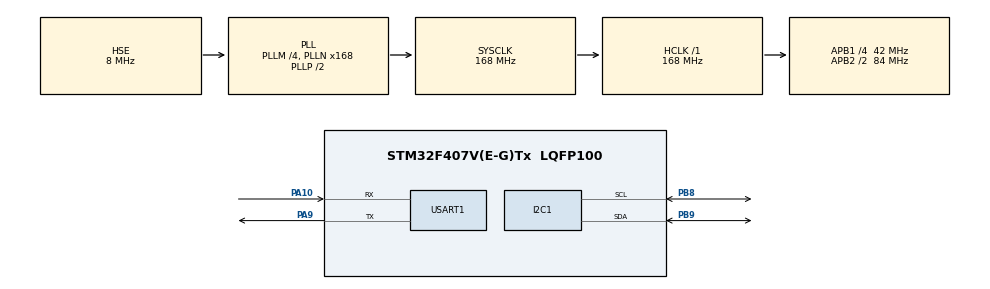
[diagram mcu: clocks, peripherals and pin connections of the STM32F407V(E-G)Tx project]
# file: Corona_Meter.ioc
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Mcu.Family=STM32F4
RCC.PLLSourceVirtual=RCC_PLLSOURCE_HSE
PH0-OSC_IN.Signal=RCC_OSC_IN
RCC.CortexFreq_Value=168000000
PA10.Mode=Asynchronous
RCC.APB1CLKDivider=RCC_HCLK_DIV4
RCC.SYSCLKSource=RCC_SYSCLKSOURCE_PLLCLK
ProjectManager.StackSize=0x400
PA9.Mode=Asynchronous
ProjectManager.TargetToolchain=STM32CubeIDE
I2C1.I2C_Mode=I2C_Fast
RCC.HCLKFreq_Value=168000000
PB9.Mode=I2C
RCC.APB2TimFreq_Value=168000000
PA9.Signal=USART1_TX
RCC.LSE_VALUE=32768
RCC.AHBFreq_Value=168000000
PH0-OSC_IN.Mode=HSE-External-Oscillator
RCC.HSE_VALUE=8000000
board=custom
RCC.VCOOutputFreq_Value=336000000
RCC.APB2Freq_Value=84000000
PH1-OSC_OUT.Signal=RCC_OSC_OUT
Mcu.Name=STM32F407V(E-G)Tx
PH1-OSC_OUT.Mode=HSE-External-Oscillator
RCC.48MHZClocksFreq_Value=84000000
RCC.SYSCLKFreq_VALUE=168000000
PB9.Signal=I2C1_SDA
Mcu.Package=LQFP100
USART1.VirtualMode=VM_ASYNC
PA10.Signal=USART1_RX
ProjectManager.HeapSize=0x200
RCC.HSI_VALUE=16000000
NVIC.PriorityGroup=NVIC_PRIORITYGROUP_4
RCC.APB2CLKDivider=RCC_HCLK_DIV2
RCC.PLLM=4
PB8.Mode=I2C
RCC.PLLN=168
RCC.APB1TimFreq_Value=84000000
PB8.Signal=I2C1_SCL
NVIC.USART1_IRQn=true\:0\:0\:false\:false\:true\:true\:true
RCC.APB1Freq_Value=42000000

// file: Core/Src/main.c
/* USER CODE BEGIN Header */
/**
  ******************************************************************************
  * Author          : Ali Kazankaya
  * @file           : main.c
  * @brief          : Main program body
  ******************************************************************************
  * @attention
  *
  * <h2><center>&copy; Copyright (c) 2021 STMicroelectronics.
  * All rights reserved.</center></h2>
  *
  * This software component is licensed by ST under BSD 3-Clause license,
  * the "License"; You may not use this file except in compliance with the
  * License. You may obtain a copy of the License at:
  *                        opensource.org/licenses/BSD-3-Clause
  *
  ******************************************************************************
  */
/* USER CODE END Header */
#include "main.h"

/* USER CODE BEGIN Includes */
#include "FUNCTIONS.h"
#include "ssd1306.h"
/* USER CODE END Includes */

I2C_HandleTypeDef hi2c1;

UART_HandleTypeDef huart1;

void SystemClock_Config(void);
static void MX_GPIO_Init(void);
static void MX_I2C1_Init(void);
static void MX_USART1_UART_Init(void);

/* USER CODE BEGIN 0 */

char Total[10];
char Death[6];
char Recovered[10];

/* USER CODE END 0 */

int main(void)
{

  /* MCU Configuration--------------------------------------------------------*/

  /* Reset of all peripherals, Initializes the Flash interface and the Systick. */
  HAL_Init();

  /* Configure the system clock */
  SystemClock_Config();

  /* Initialize all configured peripherals */
  MX_GPIO_Init();
  MX_I2C1_Init();
  MX_USART1_UART_Init();
  /* USER CODE BEGIN 2 */

  SSD1306_Init();
  SSD1306_GotoXY(0, 20);
  SSD1306_Puts("Connecting..", &Font_11x18, 1);
  SSD1306_UpdateScreen();
  ESP_Init("TurkTelekom_ZT37UQ_5GHz", "KTyucb44sXDs");
  SSD1306_Clear();

  /* USER CODE END 2 */

  /* Infinite loop */
  while (1)
  {

    /* USER CODE BEGIN 3 */

	  SSD1306_GotoXY(0, 0);
	  SSD1306_Puts("COVID TURKEY", &Font_11x18, 1);
	  SSD1306_GotoXY(0, 30);
	  SSD1306_Puts("Live Feed", &Font_11x18, 1);
      SSD1306_UpdateScreen();

      HAL_Delay(2000);

	  ESP_GetData("PKRXZX9G072FL53Q", Total, Death, Recovered);

	  SSD1306_Clear();

	  SSD1306_GotoXY(30, 0);
	  SSD1306_Puts("TOTAL", &Font_11x18, 1);
	  SSD1306_GotoXY(20, 30);
	  SSD1306_Puts(Total, &Font_11x18, 1);
	  SSD1306_UpdateScreen();
	  HAL_Delay(5000);
	  SSD1306_Clear();

	  SSD1306_GotoXY(20, 0);
	  SSD1306_Puts("DEATHS", &Font_11x18, 1);
	  SSD1306_GotoXY(30, 30);
	  SSD1306_Puts(Death, &Font_11x18, 1);
	  SSD1306_UpdateScreen();
	  HAL_Delay(5000);
	  SSD1306_Clear();

	  SSD1306_GotoXY(5, 0);
	  SSD1306_Puts("RECOVERED", &Font_11x18, 1);
	  SSD1306_GotoXY(20, 30);
	  SSD1306_Puts(Recovered, &Font_11x18, 1);
	  SSD1306_UpdateScreen();
	  HAL_Delay(5000);
	  SSD1306_Clear();

  }

  /* USER CODE END 3 */
}

void SystemClock_Config(void)
{
  RCC_OscInitTypeDef RCC_OscInitStruct = {0};
  RCC_ClkInitTypeDef RCC_ClkInitStruct = {0};

  /** Configure the main internal regulator output voltage
  */
  __HAL_RCC_PWR_CLK_ENABLE();
  __HAL_PWR_VOLTAGESCALING_CONFIG(PWR_REGULATOR_VOLTAGE_SCALE1);
  /** Initializes the RCC Oscillators according to the specified parameters
  * in the RCC_OscInitTypeDef structure.
  */
  RCC_OscInitStruct.OscillatorType = RCC_OSCILLATORTYPE_HSE;
  RCC_OscInitStruct.HSEState = RCC_HSE_ON;
  RCC_OscInitStruct.PLL.PLLState = RCC_PLL_ON;
  RCC_OscInitStruct.PLL.PLLSource = RCC_PLLSOURCE_HSE;
  RCC_OscInitStruct.PLL.PLLM = 4;
  RCC_OscInitStruct.PLL.PLLN = 168;
  RCC_OscInitStruct.PLL.PLLP = RCC_PLLP_DIV2;
  RCC_OscInitStruct.PLL.PLLQ = 4;
  if (HAL_RCC_OscConfig(&RCC_OscInitStruct) != HAL_OK)
  {
    Error_Handler();
  }
  /** Initializes the CPU, AHB and APB buses clocks
  */
  RCC_ClkInitStruct.ClockType = RCC_CLOCKTYPE_HCLK|RCC_CLOCKTYPE_SYSCLK
                              |RCC_CLOCKTYPE_PCLK1|RCC_CLOCKTYPE_PCLK2;
  RCC_ClkInitStruct.SYSCLKSource = RCC_SYSCLKSOURCE_PLLCLK;
  RCC_ClkInitStruct.AHBCLKDivider = RCC_SYSCLK_DIV1;
  RCC_ClkInitStruct.APB1CLKDivider = RCC_HCLK_DIV4;
  RCC_ClkInitStruct.APB2CLKDivider = RCC_HCLK_DIV2;

  if (HAL_RCC_ClockConfig(&RCC_ClkInitStruct, FLASH_LATENCY_5) != HAL_OK)
  {
    Error_Handler();
  }
}

static void MX_I2C1_Init(void)
{

  hi2c1.Instance = I2C1;
  hi2c1.Init.ClockSpeed = 400000;
  hi2c1.Init.DutyCycle = I2C_DUTYCYCLE_2;
  hi2c1.Init.OwnAddress1 = 0;
  hi2c1.Init.AddressingMode = I2C_ADDRESSINGMODE_7BIT;
  hi2c1.Init.DualAddressMode = I2C_DUALADDRESS_DISABLE;
  hi2c1.Init.OwnAddress2 = 0;
  hi2c1.Init.GeneralCallMode = I2C_GENERALCALL_DISABLE;
  hi2c1.Init.NoStretchMode = I2C_NOSTRETCH_DISABLE;
  if (HAL_I2C_Init(&hi2c1) != HAL_OK)
  {
    Error_Handler();
  }

}

static void MX_USART1_UART_Init(void)
{

  huart1.Instance = USART1;
  huart1.Init.BaudRate = 115200;
  huart1.Init.WordLength = UART_WORDLENGTH_8B;
  huart1.Init.StopBits = UART_STOPBITS_1;
  huart1.Init.Parity = UART_PARITY_NONE;
  huart1.Init.Mode = UART_MODE_TX_RX;
  huart1.Init.HwFlowCtl = UART_HWCONTROL_NONE;
  huart1.Init.OverSampling = UART_OVERSAMPLING_16;
  if (HAL_UART_Init(&huart1) != HAL_OK)
  {
    Error_Handler();
  }

}

static void MX_GPIO_Init(void)
{

  /* GPIO Ports Clock Enable */
  __HAL_RCC_GPIOH_CLK_ENABLE();
  __HAL_RCC_GPIOA_CLK_ENABLE();
  __HAL_RCC_GPIOB_CLK_ENABLE();

}

void Error_Handler(void)
{
  __disable_irq();
  while (1)
  {
  }
}

/************************ (C) COPYRIGHT STMicroelectronics *****END OF FILE****/
